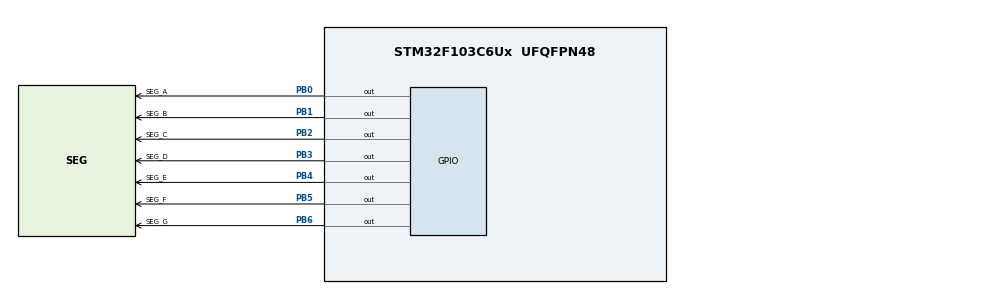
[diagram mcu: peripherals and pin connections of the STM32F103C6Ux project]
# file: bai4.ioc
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Mcu.Family=STM32F1
Mcu.Name=STM32F103C6Ux
Mcu.Package=UFQFPN48
NVIC.PriorityGroup=NVIC_PRIORITYGROUP_4
PB0.GPIO_Label=SEG_A
PB0.Signal=GPIO_Output
PB1.GPIO_Label=SEG_B
PB1.Signal=GPIO_Output
PB2.GPIO_Label=SEG_C
PB2.Signal=GPIO_Output
PB3.GPIO_Label=SEG_D
PB3.Signal=GPIO_Output
PB4.GPIO_Label=SEG_E
PB4.Signal=GPIO_Output
PB5.GPIO_Label=SEG_F
PB5.Signal=GPIO_Output
PB6.GPIO_Label=SEG_G
PB6.Signal=GPIO_Output
ProjectManager.HeapSize=0x200
ProjectManager.StackSize=0x400
ProjectManager.TargetToolchain=STM32CubeIDE
RCC.APB1Freq_Value=8000000
RCC.APB2Freq_Value=8000000
board=custom

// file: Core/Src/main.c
/* USER CODE BEGIN Header */
/**
 ******************************************************************************
 * @file           : main.c
 * @brief          : Main program body
 ******************************************************************************
 * @attention
 *
 * Copyright (c) 2022 STMicroelectronics.
 * All rights reserved.
 *
 * This software is licensed under terms that can be found in the LICENSE file
 * in the root directory of this software component.
 * If no LICENSE file comes with this software, it is provided AS-IS.
 *
 ******************************************************************************
 */
/* USER CODE END Header */
#include "main.h"

void SystemClock_Config(void);
static void MX_GPIO_Init(void);

/* USER CODE BEGIN 0 */
void display7SEG(int counter) {
	//led display number 0 by enable 6 ports as follow (reset state)
	if (counter == 0) {
		HAL_GPIO_WritePin(SEG_A_GPIO_Port, SEG_A_Pin, RESET);
		HAL_GPIO_WritePin(SEG_B_GPIO_Port, SEG_B_Pin, RESET);
		HAL_GPIO_WritePin(SEG_C_GPIO_Port, SEG_C_Pin, RESET);
		HAL_GPIO_WritePin(SEG_D_GPIO_Port, SEG_D_Pin, RESET);
		HAL_GPIO_WritePin(SEG_E_GPIO_Port, SEG_E_Pin, RESET);
		HAL_GPIO_WritePin(SEG_F_GPIO_Port, SEG_F_Pin, RESET);
		HAL_GPIO_WritePin(SEG_G_GPIO_Port, SEG_G_Pin, SET);
	}
	//led display number 1 by enable 2 ports as follow (reset state)
	if (counter == 1) {
		HAL_GPIO_WritePin(SEG_A_GPIO_Port, SEG_A_Pin, SET);
		HAL_GPIO_WritePin(SEG_B_GPIO_Port, SEG_B_Pin, RESET);
		HAL_GPIO_WritePin(SEG_C_GPIO_Port, SEG_C_Pin, RESET);
		HAL_GPIO_WritePin(SEG_D_GPIO_Port, SEG_D_Pin, SET);
		HAL_GPIO_WritePin(SEG_E_GPIO_Port, SEG_E_Pin, SET);
		HAL_GPIO_WritePin(SEG_F_GPIO_Port, SEG_F_Pin, SET);
		HAL_GPIO_WritePin(SEG_G_GPIO_Port, SEG_G_Pin, SET);
	}
	//led display number 2 by enable 5 ports as follow (reset state)
	if (counter == 2) {
		HAL_GPIO_WritePin(SEG_A_GPIO_Port, SEG_A_Pin, RESET);
		HAL_GPIO_WritePin(SEG_B_GPIO_Port, SEG_B_Pin, RESET);
		HAL_GPIO_WritePin(SEG_C_GPIO_Port, SEG_C_Pin, SET);
		HAL_GPIO_WritePin(SEG_D_GPIO_Port, SEG_D_Pin, RESET);
		HAL_GPIO_WritePin(SEG_E_GPIO_Port, SEG_E_Pin, RESET);
		HAL_GPIO_WritePin(SEG_F_GPIO_Port, SEG_F_Pin, SET);
		HAL_GPIO_WritePin(SEG_G_GPIO_Port, SEG_G_Pin, RESET);
	}
	//led display number 3 by enable 5 ports as follow (reset state)
	if (counter == 3) {
		HAL_GPIO_WritePin(SEG_A_GPIO_Port, SEG_A_Pin, RESET);
		HAL_GPIO_WritePin(SEG_B_GPIO_Port, SEG_B_Pin, RESET);
		HAL_GPIO_WritePin(SEG_C_GPIO_Port, SEG_C_Pin, RESET);
		HAL_GPIO_WritePin(SEG_D_GPIO_Port, SEG_D_Pin, RESET);
		HAL_GPIO_WritePin(SEG_E_GPIO_Port, SEG_E_Pin, SET);
		HAL_GPIO_WritePin(SEG_F_GPIO_Port, SEG_F_Pin, SET);
		HAL_GPIO_WritePin(SEG_G_GPIO_Port, SEG_G_Pin, RESET);
	}
	//led display number 4 by enable 4 ports as follow (reset state)
	if (counter == 4) {
		HAL_GPIO_WritePin(SEG_A_GPIO_Port, SEG_A_Pin, SET);
		HAL_GPIO_WritePin(SEG_B_GPIO_Port, SEG_B_Pin, RESET);
		HAL_GPIO_WritePin(SEG_C_GPIO_Port, SEG_C_Pin, RESET);
		HAL_GPIO_WritePin(SEG_D_GPIO_Port, SEG_D_Pin, SET);
		HAL_GPIO_WritePin(SEG_E_GPIO_Port, SEG_E_Pin, SET);
		HAL_GPIO_WritePin(SEG_F_GPIO_Port, SEG_F_Pin, RESET);
		HAL_GPIO_WritePin(SEG_G_GPIO_Port, SEG_G_Pin, RESET);
	}
	//led display number 5 by enable 5 ports as follow (reset state)
	if (counter == 5) {
		HAL_GPIO_WritePin(SEG_A_GPIO_Port, SEG_A_Pin, RESET);
		HAL_GPIO_WritePin(SEG_B_GPIO_Port, SEG_B_Pin, SET);
		HAL_GPIO_WritePin(SEG_C_GPIO_Port, SEG_C_Pin, RESET);
		HAL_GPIO_WritePin(SEG_D_GPIO_Port, SEG_D_Pin, RESET);
		HAL_GPIO_WritePin(SEG_E_GPIO_Port, SEG_E_Pin, SET);
		HAL_GPIO_WritePin(SEG_F_GPIO_Port, SEG_F_Pin, RESET);
		HAL_GPIO_WritePin(SEG_G_GPIO_Port, SEG_G_Pin, RESET);
	}
	//led display number 6 by enable 6 ports as follow (reset state)
	if (counter == 6) {
		HAL_GPIO_WritePin(SEG_A_GPIO_Port, SEG_A_Pin, RESET);
		HAL_GPIO_WritePin(SEG_B_GPIO_Port, SEG_B_Pin, SET);
		HAL_GPIO_WritePin(SEG_C_GPIO_Port, SEG_C_Pin, RESET);
		HAL_GPIO_WritePin(SEG_D_GPIO_Port, SEG_D_Pin, RESET);
		HAL_GPIO_WritePin(SEG_E_GPIO_Port, SEG_E_Pin, RESET);
		HAL_GPIO_WritePin(SEG_F_GPIO_Port, SEG_F_Pin, RESET);
		HAL_GPIO_WritePin(SEG_G_GPIO_Port, SEG_G_Pin, RESET);
	}
	//led display number 7 by enable 3 ports as follow (reset state)
	if (counter == 7) {
		HAL_GPIO_WritePin(SEG_A_GPIO_Port, SEG_A_Pin, RESET);
		HAL_GPIO_WritePin(SEG_B_GPIO_Port, SEG_B_Pin, RESET);
		HAL_GPIO_WritePin(SEG_C_GPIO_Port, SEG_C_Pin, RESET);
		HAL_GPIO_WritePin(SEG_D_GPIO_Port, SEG_D_Pin, SET);
		HAL_GPIO_WritePin(SEG_E_GPIO_Port, SEG_E_Pin, SET);
		HAL_GPIO_WritePin(SEG_F_GPIO_Port, SEG_F_Pin, SET);
		HAL_GPIO_WritePin(SEG_G_GPIO_Port, SEG_G_Pin, SET);
	}
	//led display number 8 by enable 7 ports as follow (reset state)
	if (counter == 8) {
		HAL_GPIO_WritePin(SEG_A_GPIO_Port, SEG_A_Pin, RESET);
		HAL_GPIO_WritePin(SEG_B_GPIO_Port, SEG_B_Pin, RESET);
		HAL_GPIO_WritePin(SEG_C_GPIO_Port, SEG_C_Pin, RESET);
		HAL_GPIO_WritePin(SEG_D_GPIO_Port, SEG_D_Pin, RESET);
		HAL_GPIO_WritePin(SEG_E_GPIO_Port, SEG_E_Pin, RESET);
		HAL_GPIO_WritePin(SEG_F_GPIO_Port, SEG_F_Pin, RESET);
		HAL_GPIO_WritePin(SEG_G_GPIO_Port, SEG_G_Pin, RESET);
	}
	//led display number 9 by enable 6 ports as follow (reset state)
	if (counter == 9) {
		HAL_GPIO_WritePin(SEG_A_GPIO_Port, SEG_A_Pin, RESET);
		HAL_GPIO_WritePin(SEG_B_GPIO_Port, SEG_B_Pin, RESET);
		HAL_GPIO_WritePin(SEG_C_GPIO_Port, SEG_C_Pin, RESET);
		HAL_GPIO_WritePin(SEG_D_GPIO_Port, SEG_D_Pin, RESET);
		HAL_GPIO_WritePin(SEG_E_GPIO_Port, SEG_E_Pin, SET);
		HAL_GPIO_WritePin(SEG_F_GPIO_Port, SEG_F_Pin, RESET);
		HAL_GPIO_WritePin(SEG_G_GPIO_Port, SEG_G_Pin, RESET);
	}
}
/* USER CODE END 0 */

int main(void) {

	/* MCU Configuration--------------------------------------------------------*/

	/* Reset of all peripherals, Initializes the Flash interface and the Systick. */
	HAL_Init();

	/* Configure the system clock */
	SystemClock_Config();

	/* Initialize all configured peripherals */
	MX_GPIO_Init();

	/* Infinite loop */
	/* USER CODE BEGIN WHILE */
	int counter = 0;
	while (1) {
		if (counter >= 10)
			counter = 0;
		display7SEG(counter++);
		HAL_Delay(1000);
		/* USER CODE END WHILE */

	}
}

void SystemClock_Config(void) {
	RCC_OscInitTypeDef RCC_OscInitStruct = { 0 };
	RCC_ClkInitTypeDef RCC_ClkInitStruct = { 0 };

	/** Initializes the RCC Oscillators according to the specified parameters
	 * in the RCC_OscInitTypeDef structure.
	 */
	RCC_OscInitStruct.OscillatorType = RCC_OSCILLATORTYPE_HSI;
	RCC_OscInitStruct.HSIState = RCC_HSI_ON;
	RCC_OscInitStruct.HSICalibrationValue = RCC_HSICALIBRATION_DEFAULT;
	RCC_OscInitStruct.PLL.PLLState = RCC_PLL_NONE;
	if (HAL_RCC_OscConfig(&RCC_OscInitStruct) != HAL_OK) {
		Error_Handler();
	}

	/** Initializes the CPU, AHB and APB buses clocks
	 */
	RCC_ClkInitStruct.ClockType = RCC_CLOCKTYPE_HCLK | RCC_CLOCKTYPE_SYSCLK
			| RCC_CLOCKTYPE_PCLK1 | RCC_CLOCKTYPE_PCLK2;
	RCC_ClkInitStruct.SYSCLKSource = RCC_SYSCLKSOURCE_HSI;
	RCC_ClkInitStruct.AHBCLKDivider = RCC_SYSCLK_DIV1;
	RCC_ClkInitStruct.APB1CLKDivider = RCC_HCLK_DIV1;
	RCC_ClkInitStruct.APB2CLKDivider = RCC_HCLK_DIV1;

	if (HAL_RCC_ClockConfig(&RCC_ClkInitStruct, FLASH_LATENCY_0) != HAL_OK) {
		Error_Handler();
	}
}

static void MX_GPIO_Init(void) {
	GPIO_InitTypeDef GPIO_InitStruct = { 0 };

	/* GPIO Ports Clock Enable */
	__HAL_RCC_GPIOB_CLK_ENABLE();

	/*Configure GPIO pin Output Level */
	HAL_GPIO_WritePin(GPIOB,
			SEG_A_Pin | SEG_B_Pin | SEG_C_Pin | SEG_D_Pin | SEG_E_Pin
					| SEG_F_Pin | SEG_G_Pin, GPIO_PIN_RESET);

	/*Configure GPIO pins : SEG_A_Pin SEG_B_Pin SEG_C_Pin SEG_D_Pin
	 SEG_E_Pin SEG_F_Pin SEG_G_Pin */
	GPIO_InitStruct.Pin = SEG_A_Pin | SEG_B_Pin | SEG_C_Pin | SEG_D_Pin
			| SEG_E_Pin | SEG_F_Pin | SEG_G_Pin;
	GPIO_InitStruct.Mode = GPIO_MODE_OUTPUT_PP;
	GPIO_InitStruct.Pull = GPIO_NOPULL;
	GPIO_InitStruct.Speed = GPIO_SPEED_FREQ_LOW;
	HAL_GPIO_Init(GPIOB, &GPIO_InitStruct);

}

void Error_Handler(void) {
	__disable_irq();
	while (1) {
	}
}
